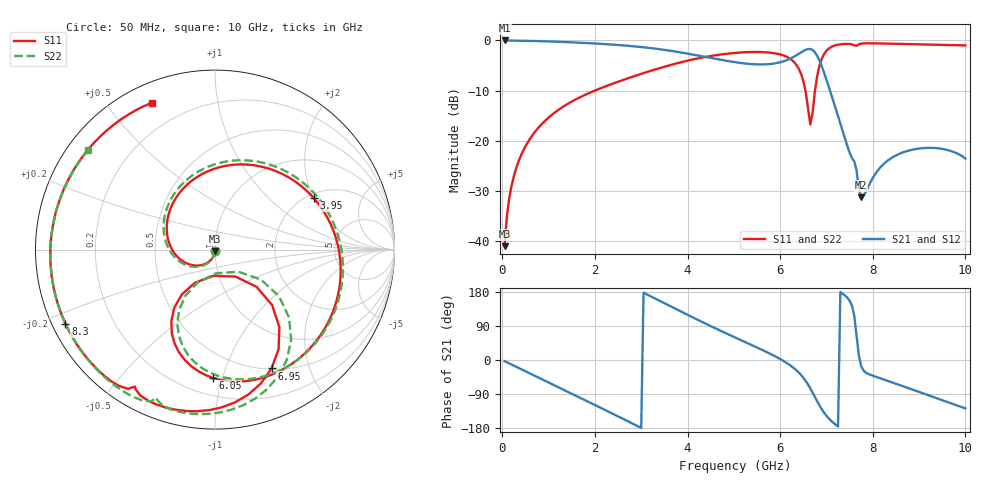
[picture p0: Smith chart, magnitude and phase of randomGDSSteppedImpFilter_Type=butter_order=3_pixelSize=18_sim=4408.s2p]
! freq	dB(S11)	phase(S11)	dB(S12)	phase(S12)
!  dB(S21)	phase(S21)	dB(S22)	phase(S22)
!S-par simulation data
#  GHz  S  DB  R 50
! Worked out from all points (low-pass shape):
!   200 points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, 50 MHz to 10 GHz, reference 50 ohm
!   highest |S21| = -0.01 dB at 50 MHz (marker M1); lowest = -31.2 dB at 7.75 GHz (marker M2)
!   |S21| within 3 dB of the highest: start of sweep to 4.229 GHz; 6.342 GHz to 6.796 GHz (453.1 MHz wide, 6.9 % of centre)
!   lowest |S11| = -40.9 dB at 50 MHz (marker M3), VSWR 1.02, Z = 50 - j0.895 ohm
!   |S11| at or under -10 dB: start of sweep to 1.995 GHz; 6.545 GHz to 6.752 GHz (206.7 MHz wide, 3.11 % of centre)
!   |S22| runs from -41.0 to -0.5 dB; largest |S21 - S12| = 0
!   S11 on the Smith chart (normalised r, x): 50 MHz: 1.00, -0.02; 3.95 GHz: 2.16, +2.02; 6.05 GHz: 0.32, -0.93; 6.95 GHz: 0.51, -1.46; 8.3 GHz: 0.04, -0.23; 10 GHz: 0.08, +0.65
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0.05  -40.95 -92.6  -0.01 -3.1  -0.01 -3.1  -41.02 -92.4
0.2  -28.93 -102.5  -0.04 -12.0  -0.04 -12.0  -29.00 -101.5
0.5  -21.08 -121.4  -0.08 -29.7  -0.08 -29.7  -21.12 -118.9
1.15  -14.24 -161.6  -0.25 -68.2  -0.25 -68.2  -14.24 -156.3
1.75  -11.00 161.5  -0.49 -103.7  -0.49 -103.7  -11.00 169.2
2.6  -7.90 109.4  -0.98 -154.9  -0.98 -154.9  -7.91 119.0
3.4  -5.51 60.6  -1.76 156.0  -1.76 156.0  -5.52 69.7
3.95  -4.14 27.5  -2.54 122.3  -2.54 122.3  -4.15 35.6
4.5  -3.11 -4.4  -3.48 89.5  -3.48 89.5  -3.11 2.5
5.05  -2.47 -34.9  -4.37 58.1  -4.37 58.1  -2.48 -28.9
6.05  -2.93 -91.1  -4.22 -0.9  -4.22 -0.9  -2.92 -85.9
6.45  -6.63 -121.4  -2.40 -39.3  -2.40 -39.3  -6.65 -116.8
6.65  -16.72 -92.7  -1.71 -74.7  -1.71 -74.7  -17.56 -87.9
6.7  -14.44 -52.7  -1.91 -86.0  -1.91 -86.0  -14.95 -43.5
6.8  -7.06 -44.2  -3.07 -109.2  -3.07 -109.2  -7.13 -36.0
6.95  -2.69 -64.5  -6.46 -139.2  -6.46 -139.2  -2.69 -57.0
7.25  -0.86 -96.2  -15.06 -175.8  -15.06 -175.8  -0.84 -88.4
7.75  -0.64 -125.2  -31.19 -16.1  -31.19 -16.1  -0.60 -115.9
8.3  -0.63 -153.6  -24.08 -54.0  -24.08 -54.0  -0.58 -141.8
8.35  -0.64 -156.1  -23.73 -56.1  -23.73 -56.1  -0.59 -143.9
9.2  -0.83 161.2  -21.38 -93.0  -21.38 -93.0  -0.75 -179.9
10  -1.00 113.3  -23.50 -127.6  -23.50 -127.6  -0.93 141.8
